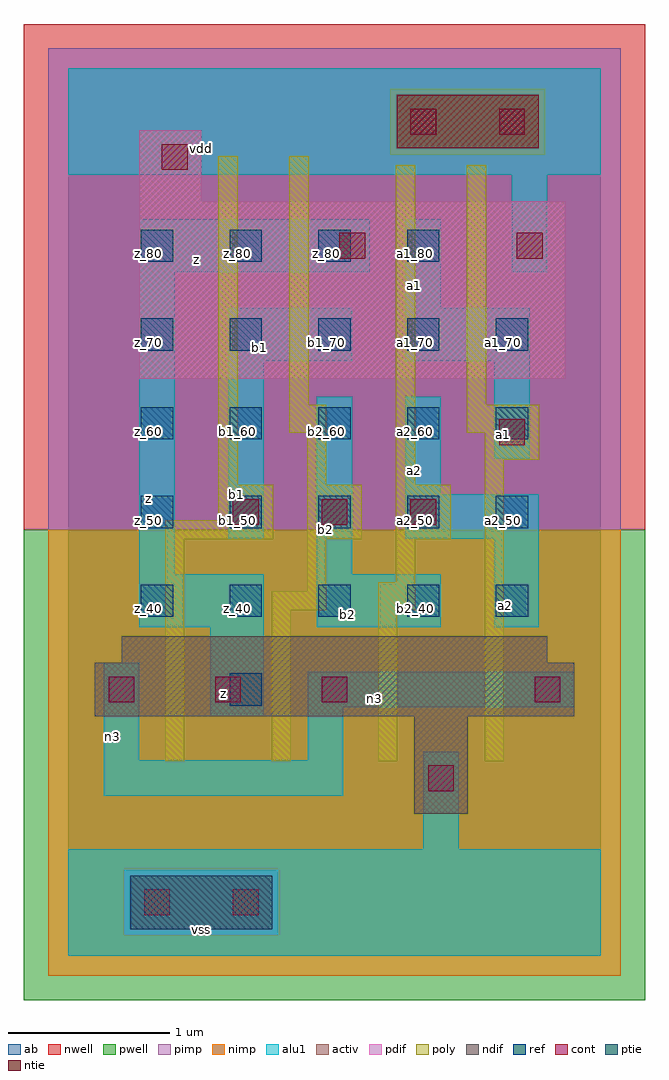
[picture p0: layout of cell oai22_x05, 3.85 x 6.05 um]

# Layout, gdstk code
import gdstk
lib = gdstk.Library(unit=1e-6, precision=2.5e-09)
def R(c, l, rs):  # rectangles x0, y0, x1, y1
    for r in rs: c.add(gdstk.rectangle(r[:2], r[2:], *l))
def A(c, l, x, y, w, h, nx, ny, dx, dy):  # array of equal rectangles
    R(c, l, [(x+i*dx, y+j*dy, x+i*dx+w, y+j*dy+h) for i in range(nx) for j in range(ny)])
ndif = (3, 0)
pdif = (4, 0)
ntie = (5, 0)
ptie = (6, 0)
ref = (24, 0)
cont = (25, 0)
pwell = (41, 0)
nwell = (42, 0)
activ = (43, 0)
pimp = (44, 0)
nimp = (45, 0)
poly = (46, 0)
alu1 = (49, 0)
ab = (63, 0)

oai22_x05 = lib.new_cell('oai22_x05')
R(oai22_x05, ndif, [(2.145,0.88,2.475,1.485), (0.165,1.485,3.135,1.815), (0.33,1.815,2.97,1.98)])
R(oai22_x05, pdif, [(0.44,3.575,3.08,4.675), (0.44,4.675,0.825,5.115)])
R(oai22_x05, ntie, [(2.035,5.005,2.915,5.335)])
R(oai22_x05, ptie, [(0.385,0.165,1.265,0.495)])
A(oai22_x05, ref, 0.45, 2.1, 0.2, 0.2, 5, 4, 0.55, 0.55)
A(oai22_x05, ref, 0.45, 4.3, 0.2, 0.2, 4, 1, 0.55, 0)
R(oai22_x05, ref, [(1,1.55,1.2,1.75)])
A(oai22_x05, cont, 0.25, 1.57, 0.16, 0.16, 3, 1, 0.66, 0)
A(oai22_x05, cont, 1.02, 2.67, 0.16, 0.16, 3, 1, 0.55, 0)
R(oai22_x05, cont, [(0.47,0.25,0.63,0.41), (1.02,0.25,1.18,0.41), (2.23,1.02,2.39,1.18), (2.89,1.57,3.05,1.73), (2.67,3.165,2.83,3.325), (1.68,4.32,1.84,4.48), (2.78,4.32,2.94,4.48), (0.58,4.87,0.74,5.03), (2.12,5.09,2.28,5.25), (2.67,5.09,2.83,5.25)])
R(oai22_x05, pwell, [(-0.275,-0.275,3.575,2.64)])
R(oai22_x05, nwell, [(-0.275,2.64,3.575,5.775)])
R(oai22_x05, activ, [(0.385,0.165,1.265,0.495), (2.145,0.88,2.475,1.485), (0.165,1.485,3.135,1.815), (0.33,1.815,2.97,1.98), (0.44,3.575,3.08,4.675), (0.44,4.675,0.825,5.115), (2.035,5.005,2.915,5.335)])
R(oai22_x05, pimp, [(0.345,0.125,1.305,0.535), (-0.125,2.64,3.425,4.965), (-0.125,4.965,1.995,5.375), (2.955,4.965,3.425,5.375), (-0.125,5.375,3.425,5.625)])
R(oai22_x05, nimp, [(-0.125,-0.125,3.425,0.125), (-0.125,0.125,0.345,0.535), (1.305,0.125,3.425,0.535), (-0.125,0.535,3.425,2.64), (1.995,4.965,2.955,5.375)])
R(oai22_x05, poly, [(0.6,1.205,0.72,2.58), (1.26,1.205,1.38,2.14), (1.92,1.205,2.04,2.14), (2.58,1.205,2.7,3.075), (1.26,2.14,1.6,2.26), (1.92,2.14,2.15,2.315), (1.48,2.26,1.6,2.58), (2.03,2.315,2.15,2.58), (0.6,2.58,1.27,2.7), (1.48,2.58,1.82,2.92), (2.03,2.58,2.37,2.92), (0.93,2.7,1.27,2.92), (0.93,2.92,1.05,4.955), (1.48,2.92,1.6,3.24), (2.03,2.92,2.15,4.9), (2.58,3.075,2.92,3.24), (1.37,3.24,1.6,3.415), (2.47,3.24,2.92,3.415), (1.37,3.415,1.49,4.955), (2.47,3.415,2.59,4.9)])
R(oai22_x05, alu1, [(0,0,3.3,0.66), (2.2,0.66,2.42,1.265), (0.22,0.99,1.705,1.21), (0.22,1.21,0.44,1.815), (1.485,1.21,1.705,1.54), (0.88,1.485,1.21,2.035), (1.485,1.54,3.135,1.76), (0.44,2.035,1.21,2.365), (1.54,2.035,2.31,2.365), (2.64,2.035,2.915,2.585), (0.44,2.365,0.66,4.235), (1.54,2.365,1.76,3.465), (0.99,2.585,1.21,3.685), (2.09,2.585,2.915,2.86), (2.09,2.86,2.31,3.465), (2.64,3.08,2.86,3.685), (0.99,3.685,1.76,4.015), (2.09,3.685,2.86,4.015), (2.09,4.015,2.31,4.565), (0.44,4.235,1.87,4.565), (2.75,4.235,2.97,4.84), (0,4.84,3.3,5.5)])
R(oai22_x05, ab, [(0,0,3.3,5.5)])
oai22_x05.add(gdstk.Label('vss', (0.825,0.165), layer=49, texttype=0))
oai22_x05.add(gdstk.Label('n3', (1.8975,1.595), layer=49, texttype=0))
oai22_x05.add(gdstk.Label('z', (0.9625,1.6225), layer=49, texttype=0))
oai22_x05.add(gdstk.Label('n3', (0.275,1.36), layer=49, texttype=0))
oai22_x05.add(gdstk.Label('a2', (2.7075,2.1725), layer=49, texttype=0))
oai22_x05.add(gdstk.Label('b2', (1.7325,2.1175), layer=49, texttype=0))
oai22_x05.add(gdstk.Label('a1', (2.695,3.23), layer=49, texttype=0))
oai22_x05.add(gdstk.Label('a2', (2.145,3.01), layer=49, texttype=0))
oai22_x05.add(gdstk.Label('b2', (1.595,2.64), layer=49, texttype=0))
oai22_x05.add(gdstk.Label('b1', (1.045,2.86), layer=49, texttype=0))
oai22_x05.add(gdstk.Label('b1', (1.1825,3.7675), layer=49, texttype=0))
oai22_x05.add(gdstk.Label('a1', (2.145,4.1525), layer=49, texttype=0))
oai22_x05.add(gdstk.Label('z', (0.495,2.8325), layer=49, texttype=0))
oai22_x05.add(gdstk.Label('z', (0.7975,4.3175), layer=49, texttype=0))
oai22_x05.add(gdstk.Label('vdd', (0.825,5.005), layer=49, texttype=0))
oai22_x05.add(gdstk.Label('b2_60', (1.6,3.25), layer=24, texttype=0))
oai22_x05.add(gdstk.Label('b1_70', (1.05,3.8), layer=24, texttype=0))
oai22_x05.add(gdstk.Label('z_80', (0.5,4.35), layer=24, texttype=0))
oai22_x05.add(gdstk.Label('a2_50', (2.7,2.7), layer=24, texttype=0))
oai22_x05.add(gdstk.Label('a2_60', (2.15,3.25), layer=24, texttype=0))
oai22_x05.add(gdstk.Label('a1_80', (2.15,4.35), layer=24, texttype=0))
oai22_x05.add(gdstk.Label('a1_70', (2.7,3.8), layer=24, texttype=0))
oai22_x05.add(gdstk.Label('z_30', (1.05,1.6), layer=24, texttype=0))
oai22_x05.add(gdstk.Label('z_80', (1.05,4.35), layer=24, texttype=0))
oai22_x05.add(gdstk.Label('z_80', (1.6,4.35), layer=24, texttype=0))
oai22_x05.add(gdstk.Label('z_70', (0.5,3.8), layer=24, texttype=0))
oai22_x05.add(gdstk.Label('z_60', (0.5,3.25), layer=24, texttype=0))
oai22_x05.add(gdstk.Label('z_50', (0.5,2.7), layer=24, texttype=0))
oai22_x05.add(gdstk.Label('z_40', (0.5,2.15), layer=24, texttype=0))
oai22_x05.add(gdstk.Label('a1_70', (2.15,3.8), layer=24, texttype=0))
oai22_x05.add(gdstk.Label('a1_60', (2.7,3.25), layer=24, texttype=0))
oai22_x05.add(gdstk.Label('a2_50', (2.15,2.7), layer=24, texttype=0))
oai22_x05.add(gdstk.Label('b2_50', (1.6,2.7), layer=24, texttype=0))
oai22_x05.add(gdstk.Label('b1_70', (1.6,3.8), layer=24, texttype=0))
oai22_x05.add(gdstk.Label('b1_60', (1.05,3.25), layer=24, texttype=0))
oai22_x05.add(gdstk.Label('b1_50', (1.05,2.7), layer=24, texttype=0))
oai22_x05.add(gdstk.Label('b2_40', (2.15,2.15), layer=24, texttype=0))
oai22_x05.add(gdstk.Label('b2_40', (1.6,2.15), layer=24, texttype=0))
oai22_x05.add(gdstk.Label('z_40', (1.05,2.15), layer=24, texttype=0))
oai22_x05.add(gdstk.Label('a2_40', (2.7,2.15), layer=24, texttype=0))

lib.write_gds('oai22_x05.gds')
